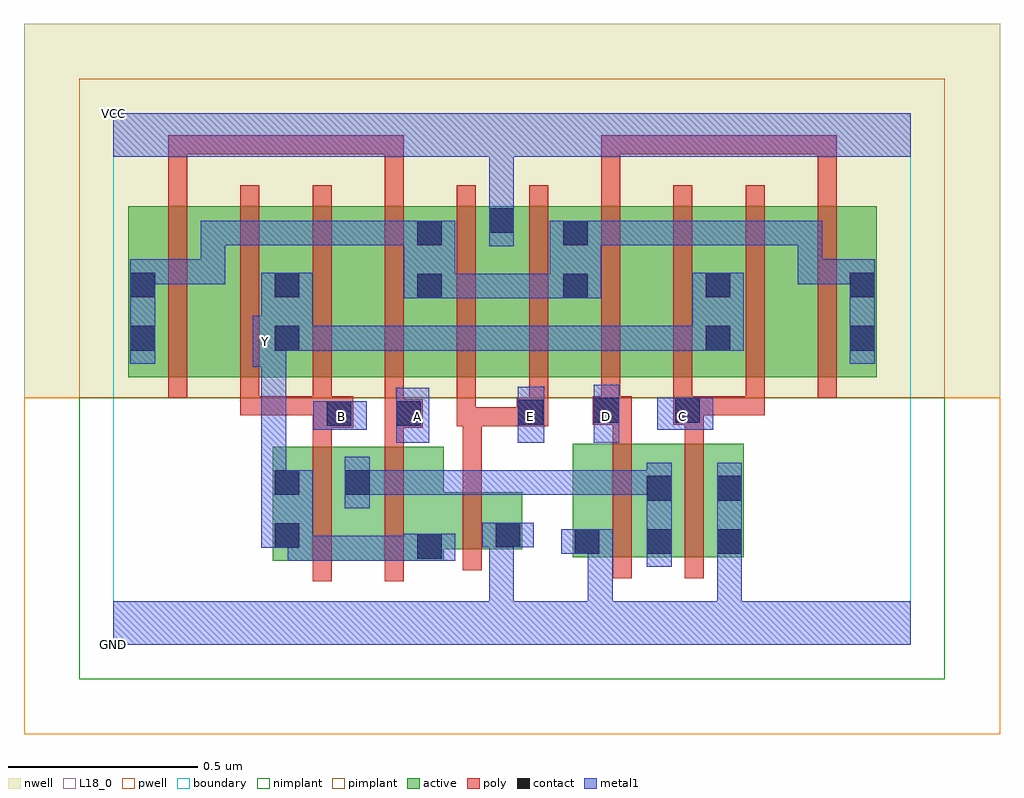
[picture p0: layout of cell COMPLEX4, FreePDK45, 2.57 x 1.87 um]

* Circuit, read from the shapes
.subckt COMPLEX4 A B C D E GND VCC Y
M1 n1 B Y VSUBS nfet w=0.3u l=0.05u
M2 Y A n1 VSUBS nfet w=0.3u l=0.05u
M3 GND E Y VSUBS nfet w=0.15u l=0.05u
M4 n1 D GND VSUBS nfet w=0.3u l=0.05u
M5 GND C n1 VSUBS nfet w=0.3u l=0.05u
M6 n2 A n3 n4 pfet w=0.45u l=0.05u
M7 Y B n2 n4 pfet w=0.45u l=0.05u
M8 n5 B Y n4 pfet w=0.45u l=0.05u
M9 n3 A n5 n4 pfet w=0.45u l=0.05u
M10 VCC E n3 n4 pfet w=0.45u l=0.05u m=2
M11 n6 D n3 n4 pfet w=0.45u l=0.05u
M12 Y C n6 n4 pfet w=0.45u l=0.05u
M13 n7 C Y n4 pfet w=0.45u l=0.05u
M14 n3 D n7 n4 pfet w=0.45u l=0.05u
.ends

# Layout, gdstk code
import gdstk
lib = gdstk.Library(unit=1e-6, precision=1e-09)
def R(c, l, rs):  # rectangles x0, y0, x1, y1
    for r in rs: c.add(gdstk.rectangle(r[:2], r[2:], *l))
def A(c, l, x, y, w, h, nx, ny, dx, dy):  # array of equal rectangles
    R(c, l, [(x+i*dx, y+j*dy, x+i*dx+w, y+j*dy+h) for i in range(nx) for j in range(ny)])
active = (1, 0)
pwell = (2, 0)
nwell = (3, 0)
nimplant = (4, 0)
pimplant = (5, 0)
poly = (9, 0)
contact = (10, 0)
metal1 = (11, 0)
L18_0 = (18, 0)
boundary = (235, 0)

complex4 = lib.new_cell('COMPLEX4')
R(complex4, active, [(0.42,0.222,0.68,0.522), (0.605,0.222,0.87,0.522), (0.795,0.222,0.87,0.402), (1.21,0.23,1.285,0.53), (1.21,0.23,1.475,0.53), (1.4,0.23,1.66,0.53), (1.4,0.23,1.475,0.45), (1.585,0.23,1.66,0.53), (0.42,0.25,0.495,0.522), (0.795,0.252,1.077,0.402), (1.002,0.252,1.077,0.402), (0.605,0.295,0.68,0.465), (0.04,0.705,0.115,1.155), (0.04,0.705,0.265,1.155), (0.265,0.705,0.495,1.155), (0.42,0.705,0.645,1.155), (0.645,0.705,0.87,1.155), (0.795,0.705,1.06,1.155), (0.985,0.705,1.255,1.155), (1.18,0.705,1.405,1.155), (1.405,0.705,1.63,1.155), (1.555,0.705,1.785,1.155), (1.785,0.705,2.01,1.155), (1.935,0.705,2.01,1.155), (0.42,0.732,0.495,1.07), (1.555,0.732,1.63,1.07), (0.985,0.832,1.06,1.155), (0.795,0.857,0.87,1.155), (1.18,0.857,1.255,1.155)])
R(complex4, pwell, [(-0.235,-0.235,2.335,0.65)])
R(complex4, nwell, [(-0.235,0.65,2.335,1.635)])
R(complex4, nimplant, [(-0.09,-0.09,2.19,0.65)])
R(complex4, pimplant, [(-0.09,0.65,2.19,1.49)])
A(complex4, poly, 1.285, 0.605, 0.05, 0.095, 3, 1, 0.19, 0)
A(complex4, poly, 0.145, 0.65, 0.05, 0.56, 10, 1, 0.19, 0)
A(complex4, poly, 0.145, 1.16, 0.05, 0.182, 4, 1, 0.57, 0)
R(complex4, poly, [(0.525,0.167,0.575,0.577), (0.715,0.167,0.765,0.577), (1.315,0.175,1.365,0.585), (1.505,0.175,1.555,0.585), (0.92,0.197,0.97,0.457), (0.92,0.407,0.97,0.625), (0.525,0.527,0.575,0.622), (0.715,0.527,0.765,0.622), (1.315,0.535,1.365,0.63), (1.505,0.535,1.555,0.63), (0.525,0.572,0.632,0.655), (0.715,0.572,0.815,0.647), (0.905,0.575,0.955,0.7), (0.905,0.575,0.97,0.625), (0.92,0.575,1.112,0.625), (1.062,0.575,1.112,0.625), (1.062,0.575,1.112,0.625), (1.062,0.575,1.145,0.65), (1.262,0.58,1.365,0.655), (1.475,0.58,1.555,0.655), (0.715,0.597,0.765,0.7), (1.095,0.6,1.145,0.7), (0.335,0.605,0.385,0.655), (0.335,0.605,0.385,0.655), (0.335,0.605,0.385,0.655), (0.335,0.605,0.385,0.7), (0.335,0.605,0.575,0.655), (0.525,0.605,0.575,0.7), (1.505,0.605,1.555,0.655), (1.505,0.605,1.555,0.655), (1.505,0.605,1.715,0.655), (1.665,0.605,1.715,0.655), (0.145,1.292,0.195,1.342), (0.145,1.292,0.195,1.342), (0.145,1.292,0.195,1.342), (0.145,1.292,0.365,1.342), (0.315,1.292,0.365,1.342), (0.315,1.292,0.365,1.342), (0.315,1.292,0.365,1.342), (0.315,1.292,0.632,1.342), (0.582,1.292,0.632,1.342), (0.582,1.292,0.765,1.342), (0.715,1.292,0.765,1.342), (0.715,1.292,0.765,1.342), (0.715,1.292,0.765,1.342), (1.285,1.292,1.335,1.342), (1.285,1.292,1.335,1.342), (1.285,1.292,1.335,1.342), (1.285,1.292,1.505,1.342), (1.455,1.292,1.505,1.342), (1.455,1.292,1.505,1.342), (1.455,1.292,1.505,1.342), (1.455,1.292,1.687,1.342), (1.637,1.292,1.687,1.342), (1.637,1.292,1.905,1.342), (1.855,1.292,1.905,1.342), (1.855,1.292,1.905,1.342), (1.855,1.292,1.905,1.342)])
R(complex4, contact, [(0.8,0.227,0.865,0.292), (1.215,0.24,1.28,0.305), (1.405,0.24,1.47,0.305), (1.59,0.24,1.655,0.305), (0.425,0.255,0.49,0.32), (1.007,0.257,1.072,0.322), (1.405,0.38,1.47,0.445), (1.59,0.38,1.655,0.445), (0.425,0.395,0.49,0.46), (0.61,0.395,0.675,0.46), (0.562,0.577,0.627,0.642), (0.745,0.577,0.81,0.642), (1.067,0.58,1.132,0.645), (1.267,0.585,1.332,0.65), (1.48,0.585,1.545,0.65), (0.045,0.775,0.11,0.84), (0.425,0.775,0.49,0.84), (1.56,0.775,1.625,0.84), (1.94,0.775,2.005,0.84), (0.8,0.912,0.865,0.977), (1.185,0.912,1.25,0.977), (0.045,0.915,0.11,0.98), (0.425,0.915,0.49,0.98), (1.56,0.915,1.625,0.98), (1.94,0.915,2.005,0.98), (0.8,1.052,0.865,1.117), (1.185,1.052,1.25,1.117), (0.99,1.085,1.055,1.15)])
R(complex4, metal1, [(0,0,2.1,0.115), (0.99,0.05,1.055,0.322), (1.25,0.05,1.315,0.305), (1.59,0.05,1.655,0.27), (1.405,0.205,1.47,0.48), (1.59,0.205,1.655,0.27), (1.59,0.205,1.655,0.27), (1.59,0.205,1.655,0.48), (0.46,0.222,0.525,0.287), (0.46,0.222,0.525,0.287), (0.46,0.222,0.525,0.287), (0.46,0.222,0.662,0.287), (0.46,0.222,0.525,0.32), (0.597,0.222,0.662,0.287), (0.597,0.222,0.662,0.287), (0.597,0.222,0.662,0.287), (0.597,0.222,0.83,0.287), (0.765,0.222,0.9,0.292), (1.18,0.24,1.315,0.305), (1.25,0.24,1.315,0.305), (1.25,0.24,1.315,0.305), (0.39,0.255,0.525,0.46), (0.972,0.257,1.107,0.322), (0.99,0.257,1.055,0.322), (0.99,0.257,1.055,0.322), (0.99,0.257,1.055,0.322), (0.99,0.257,1.055,0.322), (0.61,0.36,0.675,0.495), (0.39,0.395,0.455,0.797), (0.61,0.395,0.675,0.46), (0.61,0.395,0.675,0.46), (0.61,0.395,0.9,0.46), (0.835,0.395,0.9,0.46), (0.835,0.395,0.9,0.46), (0.835,0.395,0.9,0.46), (0.835,0.395,1.037,0.46), (0.972,0.395,1.037,0.46), (0.972,0.395,1.192,0.46), (1.127,0.395,1.192,0.46), (1.127,0.395,1.192,0.46), (1.127,0.395,1.192,0.46), (1.127,0.395,1.33,0.46), (1.265,0.395,1.33,0.46), (1.265,0.395,1.47,0.46), (0.745,0.532,0.832,0.677), (1.065,0.532,1.135,0.68), (1.265,0.532,1.332,0.685), (0.527,0.567,0.667,0.642), (1.432,0.567,1.58,0.65), (0.367,0.732,0.455,0.867), (0.045,0.74,0.11,1.015), (1.94,0.74,2.005,1.015), (0.39,0.775,0.525,0.98), (0.46,0.775,0.525,0.84), (0.46,0.775,0.525,0.84), (0.46,0.775,0.662,0.84), (0.597,0.775,0.662,0.84), (0.597,0.775,0.662,0.84), (0.597,0.775,0.662,0.84), (0.597,0.775,0.9,0.84), (0.835,0.775,0.9,0.84), (0.835,0.775,0.9,0.84), (0.835,0.775,0.9,0.84), (0.835,0.775,1.055,0.84), (0.99,0.775,1.055,0.84), (0.99,0.775,1.192,0.84), (1.127,0.775,1.192,0.84), (1.127,0.775,1.192,0.84), (1.127,0.775,1.192,0.84), (1.127,0.775,1.36,0.84), (1.295,0.775,1.36,0.84), (1.295,0.775,1.422,0.84), (1.357,0.775,1.422,0.84), (1.357,0.775,1.59,0.84), (1.525,0.775,1.59,0.84), (1.525,0.775,1.59,0.84), (1.525,0.775,1.66,0.98), (0.39,0.802,0.455,0.867), (0.765,0.912,0.9,1.117), (0.835,0.912,0.9,0.977), (0.835,0.912,0.9,0.977), (0.835,0.912,1.037,0.977), (0.972,0.912,1.037,0.977), (0.972,0.912,1.037,0.977), (0.972,0.912,1.037,0.977), (0.972,0.912,1.215,0.977), (1.15,0.912,1.285,1.117), (0.045,0.95,0.11,1.015), (0.045,0.95,0.11,1.015), (0.045,0.95,0.295,1.015), (0.23,0.95,0.295,1.015), (0.23,0.95,0.295,1.117), (1.802,0.95,1.867,1.015), (1.802,0.95,2.005,1.015), (1.802,0.95,1.867,1.117), (1.94,0.95,2.005,1.015), (1.94,0.95,2.005,1.015), (0.99,1.05,1.055,1.185), (0.23,1.052,0.295,1.117), (0.23,1.052,0.295,1.117), (0.23,1.052,0.295,1.117), (0.23,1.052,0.525,1.117), (0.46,1.052,0.525,1.117), (0.46,1.052,0.525,1.117), (0.46,1.052,0.525,1.117), (0.46,1.052,0.662,1.117), (0.597,1.052,0.662,1.117), (0.597,1.052,0.662,1.117), (0.597,1.052,0.662,1.117), (0.597,1.052,0.83,1.117), (1.22,1.052,1.36,1.117), (1.295,1.052,1.36,1.117), (1.295,1.052,1.422,1.117), (1.357,1.052,1.422,1.117), (1.357,1.052,1.497,1.117), (1.432,1.052,1.497,1.117), (1.432,1.052,1.73,1.117), (1.665,1.052,1.73,1.117), (1.665,1.052,1.73,1.117), (1.665,1.052,1.73,1.117), (1.665,1.052,1.867,1.117), (1.802,1.052,1.867,1.117), (0.99,1.12,1.055,1.185), (0.99,1.12,1.055,1.185), (0.99,1.12,1.055,1.35), (0,1.285,2.1,1.4)])
A(complex4, L18_0, 1.067, 0.567, 0.065, 0.065, 3, 1, 0.2, 0)
R(complex4, L18_0, [(0,0,2.1,0.115), (0.99,0.05,1.055,0.322), (1.25,0.05,1.315,0.305), (1.59,0.05,1.655,0.27), (1.59,0.205,1.655,0.27), (1.59,0.205,1.655,0.27), (1.59,0.205,1.655,0.48), (0.46,0.222,0.525,0.287), (0.46,0.222,0.525,0.287), (0.46,0.222,0.525,0.287), (0.46,0.222,0.525,0.32), (0.46,0.222,0.662,0.287), (0.597,0.222,0.662,0.287), (0.597,0.222,0.662,0.287), (0.597,0.222,0.662,0.287), (0.597,0.222,0.83,0.287), (0.765,0.222,0.9,0.292), (1.18,0.24,1.315,0.305), (1.25,0.24,1.315,0.305), (1.25,0.24,1.315,0.305), (0.39,0.255,0.525,0.46), (0.972,0.257,1.107,0.322), (0.99,0.257,1.055,0.322), (0.99,0.257,1.055,0.322), (0.99,0.257,1.055,0.322), (0.99,0.257,1.055,0.322), (0.39,0.395,0.455,0.797), (0.745,0.532,0.832,0.677), (1.065,0.532,1.135,0.68), (1.265,0.532,1.332,0.685), (0.527,0.567,0.667,0.642), (0.567,0.567,0.632,0.632), (0.767,0.567,0.832,0.632), (1.432,0.567,1.58,0.65), (0.367,0.732,0.455,0.867), (0.367,0.767,0.432,0.832), (0.39,0.775,0.525,0.98), (0.46,0.775,0.525,0.84), (0.46,0.775,0.525,0.84), (0.46,0.775,0.662,0.84), (0.597,0.775,0.662,0.84), (0.597,0.775,0.662,0.84), (0.597,0.775,0.662,0.84), (0.597,0.775,0.9,0.84), (0.835,0.775,0.9,0.84), (0.835,0.775,0.9,0.84), (0.835,0.775,0.9,0.84), (0.835,0.775,1.055,0.84), (0.99,0.775,1.055,0.84), (0.99,0.775,1.192,0.84), (1.127,0.775,1.192,0.84), (1.127,0.775,1.192,0.84), (1.127,0.775,1.192,0.84), (1.127,0.775,1.36,0.84), (1.295,0.775,1.36,0.84), (1.295,0.775,1.422,0.84), (1.357,0.775,1.422,0.84), (1.357,0.775,1.59,0.84), (1.525,0.775,1.59,0.84), (1.525,0.775,1.59,0.84), (1.525,0.775,1.66,0.98), (0.39,0.802,0.455,0.867), (0.99,1.05,1.055,1.185), (0.99,1.12,1.055,1.185), (0.99,1.12,1.055,1.185), (0.99,1.12,1.055,1.35), (0,1.285,2.1,1.4)])
R(complex4, boundary, [(0,0,2.1,1.4)])
complex4.add(gdstk.Label('A', (0.8,0.6), layer=11, texttype=0))
complex4.add(gdstk.Label('B', (0.6,0.6), layer=11, texttype=0))
complex4.add(gdstk.Label('C', (1.5,0.6), layer=11, texttype=0))
complex4.add(gdstk.Label('D', (1.3,0.6), layer=11, texttype=0))
complex4.add(gdstk.Label('E', (1.1,0.6), layer=11, texttype=0))
complex4.add(gdstk.Label('Y', (0.4,0.8), layer=11, texttype=0))
complex4.add(gdstk.Label('VCC', (0,1.4), layer=11, texttype=0))
complex4.add(gdstk.Label('GND', (0,0), layer=11, texttype=0))

lib.write_gds('COMPLEX4.gds')
